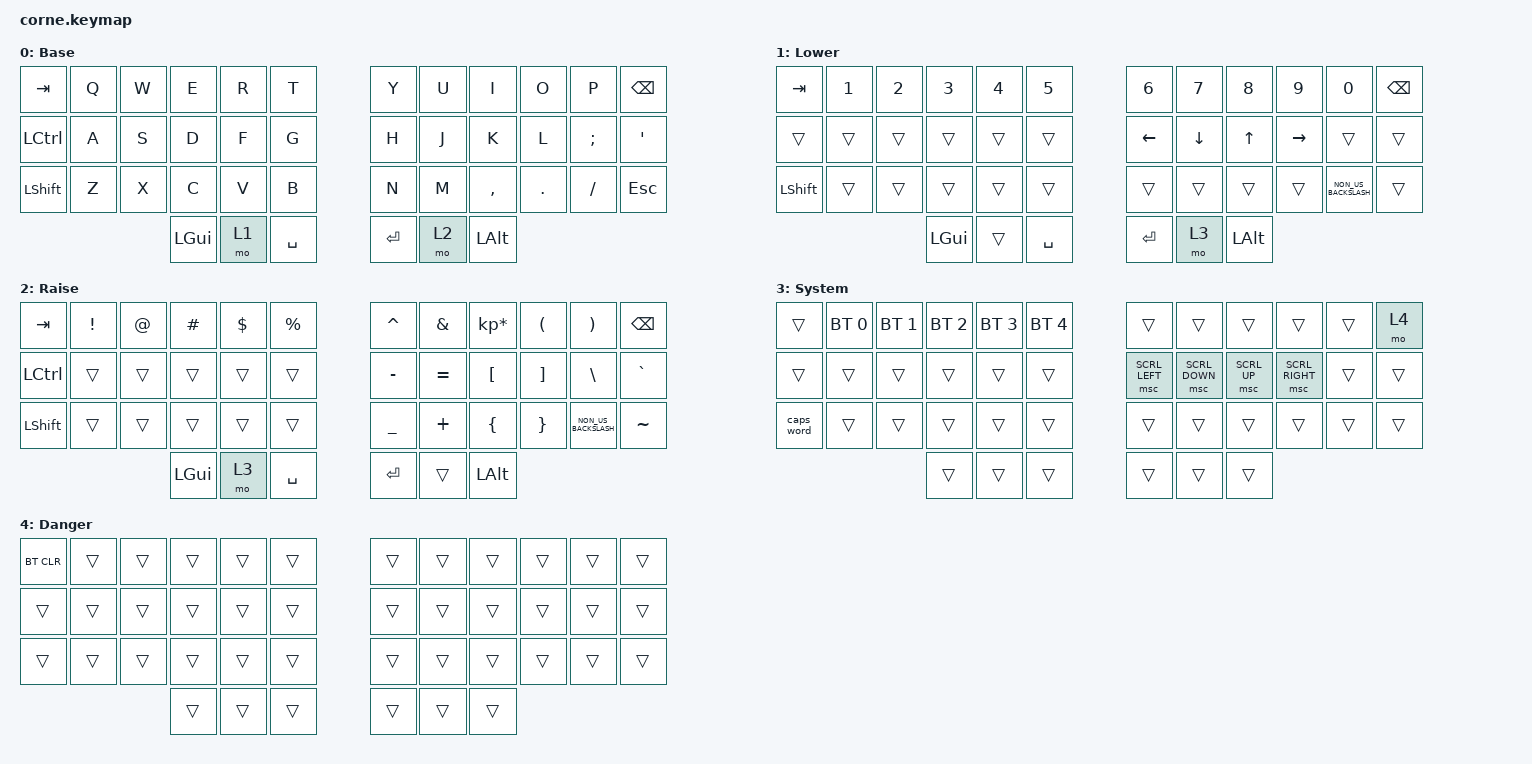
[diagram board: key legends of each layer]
/*
 * Copyright (c) 2020 The ZMK Contributors
 *
 * SPDX-License-Identifier: MIT
 */
// Edit via https://nickcoutsos.github.io/keymap-editor/

#include <behaviors.dtsi>
#include <dt-bindings/zmk/bt.h>
#include <dt-bindings/zmk/keys.h>
#include <dt-bindings/zmk/pointing.h>

/ {
    keymap {
        compatible = "zmk,keymap";

        default_layer {
            // -----------------------------------------------------------------------------------------
            // |  TAB |  Q  |  W  |  E  |  R  |  T  |   |  Y  |  U   |  I  |  O  |  P  | BKSP |
            // | CTRL |  A  |  S  |  D  |  F  |  G  |   |  H  |  J   |  K  |  L  |  ;  |  '   |
            // | SHFT |  Z  |  X  |  C  |  V  |  B  |   |  N  |  M   |  ,  |  .  |  /  | ESC  |
            //                    | GUI | LWR | SPC |   | ENT | RSE  | ALT |

            display-name = "Base";
            bindings = <
&kp TAB    &kp Q  &kp W  &kp E     &kp R  &kp T        &kp Y    &kp U  &kp I      &kp O    &kp P     &kp BSPC
&kp LCTRL  &kp A  &kp S  &kp D     &kp F  &kp G        &kp H    &kp J  &kp K      &kp L    &kp SEMI  &kp SQT
&kp LSHFT  &kp Z  &kp X  &kp C     &kp V  &kp B        &kp N    &kp M  &kp COMMA  &kp DOT  &kp FSLH  &kp ESC
                         &kp LGUI  &mo 1  &kp SPACE    &kp RET  &mo 2  &kp LALT
            >;
        };

        lower_layer {
            // -----------------------------------------------------------------------------------------
            // |  TAB |  1  |  2  |  3  |  4  |  5  |   |  6  |  7  |  8  |  9  |  0  | BKSP |
            // | BTCLR| BT1 | BT2 | BT3 | BT4 | BT5 |   | LFT | DWN |  UP | RGT |     |      |
            // | SHFT |     |     |     |     |     |   |     |     |     |     |     |      |
            //                    | GUI |     | SPC |   | ENT |     | ALT |

            display-name = "Lower";
            bindings = <
&kp TAB    &kp N1  &kp N2  &kp N3    &kp N4  &kp N5       &kp N6    &kp N7    &kp N8    &kp N9     &kp N0                &kp BSPC
&trans     &trans  &trans  &trans    &trans  &trans       &kp LEFT  &kp DOWN  &kp UP    &kp RIGHT  &trans                &trans
&kp LSHFT  &trans  &trans  &trans    &trans  &trans       &trans    &trans    &trans    &trans     &kp NON_US_BACKSLASH  &trans
                           &kp LGUI  &trans  &kp SPACE    &kp RET   &mo 3     &kp LALT
            >;
        };

        raise_layer {
            // -----------------------------------------------------------------------------------------
            // |  TAB |  !  |  @  |  #  |  $  |  %  |   |  ^  |  &  |  *  |  (  |  )  | BKSP |
            // | CTRL |     |     |     |     |     |   |  -  |  =  |  [  |  ]  |  \  |  `   |
            // | SHFT |     |     |     |     |     |   |  _  |  +  |  {  |  }  | "|" |  ~   |
            //                    | GUI |     | SPC |   | ENT |     | ALT |

            display-name = "Raise";
            bindings = <
&kp TAB    &kp EXCL  &kp AT  &kp HASH  &kp DLLR  &kp PRCNT    &kp CARET  &kp AMPS   &kp KP_MULTIPLY  &kp LPAR  &kp RPAR              &kp BSPC
&kp LCTRL  &trans    &trans  &trans    &trans    &trans       &kp MINUS  &kp EQUAL  &kp LBKT         &kp RBKT  &kp BSLH              &kp GRAVE
&kp LSHFT  &trans    &trans  &trans    &trans    &trans       &kp UNDER  &kp PLUS   &kp LBRC         &kp RBRC  &kp NON_US_BACKSLASH  &kp TILDE
                             &kp LGUI  &mo 3     &kp SPACE    &kp RET    &trans     &kp LALT
            >;
        };

        layer_3 {
            bindings = <
&trans      &bt BT_SEL 0  &bt BT_SEL 1  &bt BT_SEL 2  &bt BT_SEL 3  &bt BT_SEL 4    &trans          &trans          &trans        &trans           &trans  &mo 4
&trans      &trans        &trans        &trans        &trans        &trans          &msc SCRL_LEFT  &msc SCRL_DOWN  &msc SCRL_UP  &msc SCRL_RIGHT  &trans  &trans
&caps_word  &trans        &trans        &trans        &trans        &trans          &trans          &trans          &trans        &trans           &trans  &trans
                                        &trans        &trans        &trans          &trans          &trans          &trans
            >;

            label = "System";
        };

        layer_4 {
            bindings = <
&bt BT_CLR  &trans  &trans  &trans  &trans  &trans    &trans  &trans  &trans  &trans  &trans  &trans
&trans      &trans  &trans  &trans  &trans  &trans    &trans  &trans  &trans  &trans  &trans  &trans
&trans      &trans  &trans  &trans  &trans  &trans    &trans  &trans  &trans  &trans  &trans  &trans
                            &trans  &trans  &trans    &trans  &trans  &trans
            >;

            label = "Danger";
        };
    };
};
